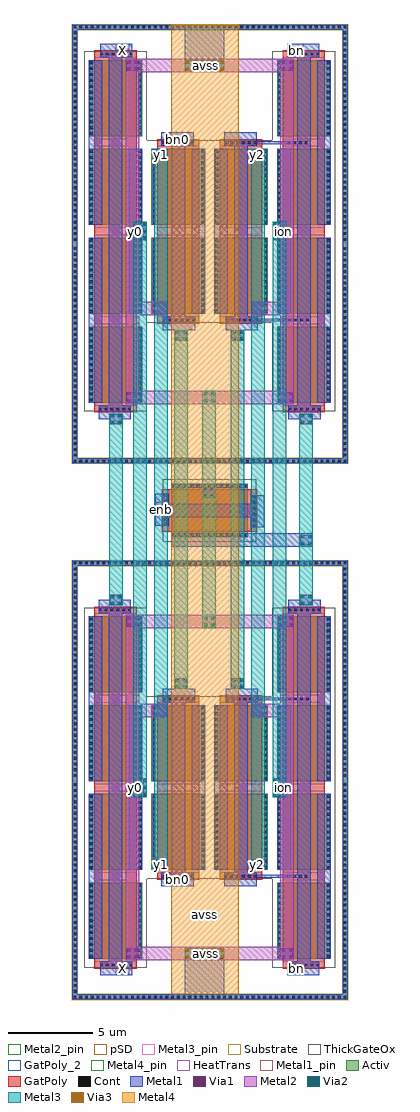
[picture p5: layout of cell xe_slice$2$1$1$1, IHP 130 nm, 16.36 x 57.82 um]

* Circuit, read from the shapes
.subckt xe_slice$2$1$1$1 X avss bn bn0 enb ion y0 y1 y2
XM1 avss X n1 avss sg13_hv_nmos w=4.5u l=2.5u
XM2 y0 X n1 avss sg13_hv_nmos w=4.5u l=2.5u
XM3 y0 X n2 avss sg13_hv_nmos w=4.5u l=2.5u
XM4 avss X n2 avss sg13_hv_nmos w=4.5u l=2.5u
XM5 avss X n3 avss sg13_hv_nmos w=4.5u l=2.5u
XM6 y0 X n3 avss sg13_hv_nmos w=4.5u l=2.5u
XM7 y0 X n4 avss sg13_hv_nmos w=4.5u l=2.5u
XM8 avss X n4 avss sg13_hv_nmos w=4.5u l=2.5u
XM9 n5 bn0 y1 avss sg13_hv_nmos w=4.5u l=2.5u
XM10 n5 bn0 avss avss sg13_hv_nmos w=4.5u l=2.5u
XM11 n6 bn0 avss avss sg13_hv_nmos w=4.5u l=2.5u
XM12 n6 bn0 y1 avss sg13_hv_nmos w=4.5u l=2.5u
XM13 avss enb bn avss sg13_hv_nmos w=4.5u l=2.5u
XM14 y2 bn n7 avss sg13_hv_nmos w=4.5u l=2.5u
XM15 avss bn n7 avss sg13_hv_nmos w=4.5u l=2.5u
XM16 avss bn n8 avss sg13_hv_nmos w=4.5u l=2.5u
XM17 y2 bn n8 avss sg13_hv_nmos w=4.5u l=2.5u
XM18 n9 bn avss avss sg13_hv_nmos w=4.5u l=2.5u
XM19 n9 bn ion avss sg13_hv_nmos w=4.5u l=2.5u
XM20 n10 bn ion avss sg13_hv_nmos w=4.5u l=2.5u
XM21 n10 bn avss avss sg13_hv_nmos w=4.5u l=2.5u
XM22 n11 bn avss avss sg13_hv_nmos w=4.5u l=2.5u
XM23 n11 bn ion avss sg13_hv_nmos w=4.5u l=2.5u
XM24 n12 bn ion avss sg13_hv_nmos w=4.5u l=2.5u
XM25 n12 bn avss avss sg13_hv_nmos w=4.5u l=2.5u
.ends

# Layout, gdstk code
from math import pi, radians
import gdstk
lib = gdstk.Library(unit=1e-6, precision=1e-09)
def R(c, l, rs):  # rectangles x0, y0, x1, y1
    for r in rs: c.add(gdstk.rectangle(r[:2], r[2:], *l))
def A(c, l, x, y, w, h, nx, ny, dx, dy):  # array of equal rectangles
    R(c, l, [(x+i*dx, y+j*dy, x+i*dx+w, y+j*dy+h) for i in range(nx) for j in range(ny)])
def P(c, l, *ps):  # polygons
    for p in ps: c.add(gdstk.Polygon(p, *l))
Activ = (1, 0)
GatPoly = (5, 0)
GatPoly_2 = (5, 2)
Cont = (6, 0)
Metal1 = (8, 0)
Metal1_pin = (8, 2)
Metal2 = (10, 0)
Metal2_pin = (10, 2)
pSD = (14, 0)
Via1 = (19, 0)
Via2 = (29, 0)
Metal3 = (30, 0)
Metal3_pin = (30, 2)
Substrate = (40, 0)
ThickGateOx = (44, 0)
Via3 = (49, 0)
Metal4 = (50, 0)
Metal4_pin = (50, 2)
HeatTrans = (51, 0)

nmoshv = lib.new_cell('nmosHV')
R(nmoshv, Activ, [(0,0,0.3,0.3), (0,0,3.18,4.5), (2.88,0,3.18,0.3)])
R(nmoshv, GatPoly, [(0.34,-0.18,2.84,4.68)])
R(nmoshv, GatPoly_2, [(0.34,-0.18,2.84,4.68)])
A(nmoshv, Cont, 0.07, 0.07, 0.16, 0.16, 1, 13, 0, 0.35)
A(nmoshv, Cont, 2.95, 0.07, 0.16, 0.16, 1, 13, 0, 0.35)
R(nmoshv, Metal1, [(0.07,0,0.23,4.5), (2.95,0,3.11,4.5)])
R(nmoshv, Metal1_pin, [(0.07,0,0.23,4.5), (2.95,0,3.11,4.5)])
R(nmoshv, ThickGateOx, [(-0.27,-0.52,3.45,5.02)])
R(nmoshv, HeatTrans, [(0.34,-0.18,2.84,4.68)])
nmoshv.add(gdstk.Label('nmosHV', (1.59,2.25), layer=63, texttype=0))
nmoshv.add(gdstk.Label('nmosHV', (1.59,2.25), layer=51, texttype=0))

via_stack_2 = lib.new_cell('via_stack$2')
R(via_stack_2, Metal1, [(-0.35,-0.31,0.35,0.31)])
R(via_stack_2, Metal2, [(-0.35,-0.305,0.35,0.305)])
R(via_stack_2, Via1, [(-0.3,-0.3,-0.11,-0.11), (0.11,-0.3,0.3,-0.11), (-0.3,0.11,-0.11,0.3), (0.11,0.11,0.3,0.3)])

via_stack_13 = lib.new_cell('via_stack$13')
R(via_stack_13, Metal1, [(-0.35,-0.31,0.35,0.31)])
R(via_stack_13, Metal2, [(-0.35,-0.305,0.35,0.305)])
R(via_stack_13, Via1, [(-0.3,-0.3,-0.11,-0.11), (0.11,-0.3,0.3,-0.11), (-0.3,0.11,-0.11,0.3), (0.11,0.11,0.3,0.3)])
R(via_stack_13, Via2, [(-0.3,-0.3,-0.11,-0.11), (0.11,-0.3,0.3,-0.11), (-0.3,0.11,-0.11,0.3), (0.11,0.11,0.3,0.3)])
R(via_stack_13, Metal3, [(-0.35,-0.305,0.35,0.305)])

via_stack_15 = lib.new_cell('via_stack$15')
R(via_stack_15, Metal1, [(-1.17,-0.31,1.17,0.31)])
R(via_stack_15, Metal2, [(-1.17,-0.305,1.17,0.305)])
A(via_stack_15, Via1, -1.12, -0.3, 0.19, 0.19, 6, 2, 0.41, 0.41)
A(via_stack_15, Via2, -1.12, -0.3, 0.19, 0.19, 6, 2, 0.41, 0.41)
R(via_stack_15, Metal3, [(-1.17,-0.305,1.17,0.305)])
A(via_stack_15, Via3, -1.12, -0.3, 0.19, 0.19, 6, 2, 0.41, 0.41)
R(via_stack_15, Metal4, [(-1.17,-0.305,1.17,0.305)])

via_stack_16 = lib.new_cell('via_stack$16')
R(via_stack_16, Metal1, [(-0.555,-0.105,0.555,0.105)])
R(via_stack_16, Metal2, [(-0.555,-0.1,0.555,0.1)])
A(via_stack_16, Via1, -0.505, -0.095, 0.19, 0.19, 3, 1, 0.41, 0)
A(via_stack_16, Via2, -0.505, -0.095, 0.19, 0.19, 3, 1, 0.41, 0)
R(via_stack_16, Metal3, [(-0.555,-0.1,0.555,0.1)])

guard_ring_2 = lib.new_cell('guard_ring$2')
R(guard_ring_2, Activ, [(-8.15,-12.7,-7.85,12.7), (7.85,-12.7,8.15,12.7), (-8.15,12.7,8.15,13)])
P(guard_ring_2, Activ, [(-8.15,-13),(-8.15,12.7),(-7.85,12.7),(-7.85,-12.7),(7.85,-12.7),(7.85,12.7),(-8.15,12.7),(-8.15,13),(8.15,13),(8.15,-13)])
A(guard_ring_2, Cont, -8.08, -12.93, 0.16, 0.16, 24, 2, 0.34, 25.7)
A(guard_ring_2, Cont, 0.1, -12.93, 0.16, 0.16, 24, 2, 0.34, 25.7)
A(guard_ring_2, Cont, -8.08, -12.59, 0.16, 0.16, 1, 37, 0, 0.34)
A(guard_ring_2, Cont, 7.92, -12.59, 0.16, 0.16, 1, 37, 0, 0.34)
A(guard_ring_2, Cont, -8.08, 0.19, 0.16, 0.16, 1, 37, 0, 0.34)
A(guard_ring_2, Cont, 7.92, 0.19, 0.16, 0.16, 1, 37, 0, 0.34)
R(guard_ring_2, Metal1, [(-8.15,-13,8.15,-12.7), (-8.15,-12.7,-7.85,12.7), (7.85,-12.7,8.15,12.7), (-8.15,12.7,8.15,13)])
R(guard_ring_2, pSD, [(-8.18,-12.67,-7.82,12.67), (7.82,-12.67,8.18,12.67), (-8.18,12.67,8.18,13.03)])
P(guard_ring_2, pSD, [(-8.18,-13.03),(-8.18,12.67),(-7.82,12.67),(-7.82,-12.67),(7.82,-12.67),(7.82,12.67),(-8.18,12.67),(-8.18,13.03),(8.18,13.03),(8.18,-13.03)])
R(guard_ring_2, Substrate, [(-8.18,-12.67,-7.82,12.67), (7.82,-12.67,8.18,12.67), (-8.18,12.67,8.18,13.03)])
P(guard_ring_2, Substrate, [(-8.18,-13.03),(-8.18,12.67),(-7.82,12.67),(-7.82,-12.67),(7.82,-12.67),(7.82,12.67),(-8.18,12.67),(-8.18,13.03),(8.18,13.03),(8.18,-13.03)])
guard_ring_2.add(gdstk.Label('sub!', (0,-12.85), layer=63, texttype=0))

via_stack_1 = lib.new_cell('via_stack$1')
R(via_stack_1, Metal2, [(-0.35,-0.305,0.35,0.305)])
R(via_stack_1, Via2, [(-0.3,-0.3,-0.11,-0.11), (0.11,-0.3,0.3,-0.11), (-0.3,0.11,-0.11,0.3), (0.11,0.11,0.3,0.3)])
R(via_stack_1, Metal3, [(-0.35,-0.305,0.35,0.305)])

xe_slice_2_1_1_1 = lib.new_cell('xe_slice$2$1$1$1')
A(xe_slice_2_1_1_1, GatPoly, 1.27, 6.825, 2.5, 0.4, 4, 3, 3.72, 5.26)
A(xe_slice_2_1_1_1, GatPoly, 1.27, 39.775, 2.5, 0.4, 4, 3, 3.72, 5.26)
R(xe_slice_2_1_1_1, GatPoly, [(1.27,1.565,3.77,1.965), (12.43,1.565,14.93,1.965), (1.27,22.605,3.77,23.005), (12.43,22.605,14.93,23.005), (5.27,27.45,5.67,29.95), (10.53,27.45,10.93,29.95), (1.27,34.515,3.77,34.915), (12.43,34.515,14.93,34.915), (1.27,55.555,3.77,55.955), (12.43,55.555,14.93,55.955)])
R(xe_slice_2_1_1_1, Cont, [(1.605,1.69,1.765,1.85), (1.605,1.69,1.765,1.85), (1.955,1.69,2.115,1.85), (1.955,1.69,2.115,1.85), (2.305,1.69,2.465,1.85), (2.305,1.69,2.465,1.85), (2.655,1.69,2.815,1.85), (2.655,1.69,2.815,1.85), (3.005,1.69,3.165,1.85), (3.005,1.69,3.165,1.85), (3.355,1.69,3.515,1.85), (3.355,1.69,3.515,1.85), (12.685,1.69,12.845,1.85), (12.685,1.69,12.845,1.85), (13.035,1.69,13.195,1.85), (13.035,1.69,13.195,1.85), (13.385,1.69,13.545,1.85), (13.385,1.69,13.545,1.85), (13.735,1.69,13.895,1.85), (13.735,1.69,13.895,1.85), (14.085,1.69,14.245,1.85), (14.085,1.69,14.245,1.85), (14.435,1.69,14.595,1.85), (14.435,1.69,14.595,1.85), (5.245,6.95,5.405,7.11), (5.245,6.95,5.405,7.11), (5.595,6.95,5.755,7.11), (5.595,6.95,5.755,7.11), (5.945,6.95,6.105,7.11), (5.945,6.95,6.105,7.11), (6.295,6.95,6.455,7.11), (6.295,6.95,6.455,7.11), (6.645,6.95,6.805,7.11), (6.645,6.95,6.805,7.11), (6.995,6.95,7.155,7.11), (6.995,6.95,7.155,7.11), (8.965,6.95,9.125,7.11), (8.965,6.95,9.125,7.11), (9.315,6.95,9.475,7.11), (9.315,6.95,9.475,7.11), (9.665,6.95,9.825,7.11), (9.665,6.95,9.825,7.11), (10.015,6.95,10.175,7.11), (10.015,6.95,10.175,7.11), (10.365,6.95,10.525,7.11), (10.365,6.95,10.525,7.11), (10.715,6.95,10.875,7.11), (10.715,6.95,10.875,7.11), (12.685,6.95,12.845,7.11), (12.685,6.95,12.845,7.11), (13.035,6.95,13.195,7.11), (13.035,6.95,13.195,7.11), (13.385,6.95,13.545,7.11), (13.385,6.95,13.545,7.11), (13.735,6.95,13.895,7.11), (13.735,6.95,13.895,7.11), (5.325,17.46,5.485,17.62), (5.325,17.46,5.485,17.62), (5.675,17.46,5.835,17.62), (5.675,17.46,5.835,17.62), (6.025,17.46,6.185,17.62), (6.025,17.46,6.185,17.62), (6.375,17.46,6.535,17.62), (6.375,17.46,6.535,17.62), (6.725,17.46,6.885,17.62), (6.725,17.46,6.885,17.62), (7.075,17.46,7.235,17.62), (7.075,17.46,7.235,17.62), (9.045,17.46,9.205,17.62), (9.045,17.46,9.205,17.62), (9.395,17.46,9.555,17.62), (9.395,17.46,9.555,17.62), (9.745,17.46,9.905,17.62), (9.745,17.46,9.905,17.62), (10.095,17.46,10.255,17.62), (10.095,17.46,10.255,17.62), (10.445,17.46,10.605,17.62), (10.445,17.46,10.605,17.62), (10.795,17.46,10.955,17.62), (10.795,17.46,10.955,17.62), (12.765,17.46,12.925,17.62), (12.765,17.46,12.925,17.62), (13.115,17.46,13.275,17.62), (13.115,17.46,13.275,17.62), (13.465,17.46,13.625,17.62), (13.465,17.46,13.625,17.62), (13.815,17.46,13.975,17.62), (13.815,17.46,13.975,17.62), (1.525,22.72,1.685,22.88), (1.525,22.72,1.685,22.88), (1.875,22.72,2.035,22.88), (1.875,22.72,2.035,22.88), (2.225,22.72,2.385,22.88), (2.225,22.72,2.385,22.88), (2.575,22.72,2.735,22.88), (2.575,22.72,2.735,22.88), (2.925,22.72,3.085,22.88), (2.925,22.72,3.085,22.88), (3.275,22.72,3.435,22.88), (3.275,22.72,3.435,22.88), (12.765,22.72,12.925,22.88), (12.765,22.72,12.925,22.88), (13.115,22.72,13.275,22.88), (13.115,22.72,13.275,22.88), (13.465,22.72,13.625,22.88), (13.465,22.72,13.625,22.88), (13.815,22.72,13.975,22.88), (13.815,22.72,13.975,22.88), (14.165,22.72,14.325,22.88), (14.165,22.72,14.325,22.88), (14.515,22.72,14.675,22.88), (14.515,22.72,14.675,22.88), (10.645,27.705,10.805,27.865), (10.645,27.705,10.805,27.865), (5.395,27.785,5.555,27.945), (5.395,27.785,5.555,27.945), (10.645,28.055,10.805,28.215), (10.645,28.055,10.805,28.215), (5.395,28.135,5.555,28.295), (5.395,28.135,5.555,28.295), (10.645,28.405,10.805,28.565), (10.645,28.405,10.805,28.565), (5.395,28.485,5.555,28.645), (5.395,28.485,5.555,28.645), (10.645,28.755,10.805,28.915), (10.645,28.755,10.805,28.915), (5.395,28.835,5.555,28.995), (5.395,28.835,5.555,28.995), (10.645,29.105,10.805,29.265), (10.645,29.105,10.805,29.265), (5.395,29.185,5.555,29.345), (5.395,29.185,5.555,29.345), (10.645,29.455,10.805,29.615), (10.645,29.455,10.805,29.615), (5.395,29.535,5.555,29.695), (5.395,29.535,5.555,29.695), (1.525,34.64,1.685,34.8), (1.525,34.64,1.685,34.8), (1.875,34.64,2.035,34.8), (1.875,34.64,2.035,34.8), (2.225,34.64,2.385,34.8), (2.225,34.64,2.385,34.8), (2.575,34.64,2.735,34.8), (2.575,34.64,2.735,34.8), (2.925,34.64,3.085,34.8), (2.925,34.64,3.085,34.8), (3.275,34.64,3.435,34.8), (3.275,34.64,3.435,34.8), (12.765,34.64,12.925,34.8), (12.765,34.64,12.925,34.8), (13.115,34.64,13.275,34.8), (13.115,34.64,13.275,34.8), (13.465,34.64,13.625,34.8), (13.465,34.64,13.625,34.8), (13.815,34.64,13.975,34.8), (13.815,34.64,13.975,34.8), (14.165,34.64,14.325,34.8), (14.165,34.64,14.325,34.8), (14.515,34.64,14.675,34.8), (14.515,34.64,14.675,34.8), (5.325,39.9,5.485,40.06), (5.325,39.9,5.485,40.06), (5.675,39.9,5.835,40.06), (5.675,39.9,5.835,40.06), (6.025,39.9,6.185,40.06), (6.025,39.9,6.185,40.06), (6.375,39.9,6.535,40.06), (6.375,39.9,6.535,40.06), (6.725,39.9,6.885,40.06), (6.725,39.9,6.885,40.06), (7.075,39.9,7.235,40.06), (7.075,39.9,7.235,40.06), (9.045,39.9,9.205,40.06), (9.045,39.9,9.205,40.06), (9.395,39.9,9.555,40.06), (9.395,39.9,9.555,40.06), (9.745,39.9,9.905,40.06), (9.745,39.9,9.905,40.06), (10.095,39.9,10.255,40.06), (10.095,39.9,10.255,40.06), (10.445,39.9,10.605,40.06), (10.445,39.9,10.605,40.06), (10.795,39.9,10.955,40.06), (10.795,39.9,10.955,40.06), (12.765,39.9,12.925,40.06), (12.765,39.9,12.925,40.06), (13.115,39.9,13.275,40.06), (13.115,39.9,13.275,40.06), (13.465,39.9,13.625,40.06), (13.465,39.9,13.625,40.06), (13.815,39.9,13.975,40.06), (13.815,39.9,13.975,40.06), (5.245,50.41,5.405,50.57), (5.245,50.41,5.405,50.57), (5.595,50.41,5.755,50.57), (5.595,50.41,5.755,50.57), (5.945,50.41,6.105,50.57), (5.945,50.41,6.105,50.57), (6.295,50.41,6.455,50.57), (6.295,50.41,6.455,50.57), (6.645,50.41,6.805,50.57), (6.645,50.41,6.805,50.57), (6.995,50.41,7.155,50.57), (6.995,50.41,7.155,50.57), (8.965,50.41,9.125,50.57), (8.965,50.41,9.125,50.57), (9.315,50.41,9.475,50.57), (9.315,50.41,9.475,50.57), (9.665,50.41,9.825,50.57), (9.665,50.41,9.825,50.57), (10.015,50.41,10.175,50.57), (10.015,50.41,10.175,50.57), (10.365,50.41,10.525,50.57), (10.365,50.41,10.525,50.57), (10.715,50.41,10.875,50.57), (10.715,50.41,10.875,50.57), (12.685,50.41,12.845,50.57), (12.685,50.41,12.845,50.57), (13.035,50.41,13.195,50.57), (13.035,50.41,13.195,50.57), (13.385,50.41,13.545,50.57), (13.385,50.41,13.545,50.57), (13.735,50.41,13.895,50.57), (13.735,50.41,13.895,50.57), (1.605,55.67,1.765,55.83), (1.605,55.67,1.765,55.83), (1.955,55.67,2.115,55.83), (1.955,55.67,2.115,55.83), (2.305,55.67,2.465,55.83), (2.305,55.67,2.465,55.83), (2.655,55.67,2.815,55.83), (2.655,55.67,2.815,55.83), (3.005,55.67,3.165,55.83), (3.005,55.67,3.165,55.83), (3.355,55.67,3.515,55.83), (3.355,55.67,3.515,55.83), (12.685,55.67,12.845,55.83), (12.685,55.67,12.845,55.83), (13.035,55.67,13.195,55.83), (13.035,55.67,13.195,55.83), (13.385,55.67,13.545,55.83), (13.385,55.67,13.545,55.83), (13.735,55.67,13.895,55.83), (13.735,55.67,13.895,55.83), (14.085,55.67,14.245,55.83), (14.085,55.67,14.245,55.83), (14.435,55.67,14.595,55.83), (14.435,55.67,14.595,55.83)])
R(xe_slice_2_1_1_1, Metal1, [(6.63,0.03,8.97,2.765), (1.605,1.69,3.515,1.85), (12.685,1.69,14.595,1.85), (5.245,6.95,7.155,7.11), (8.965,6.95,10.875,7.11), (10.875,6.95,12.685,7.11), (12.17,6.95,14.08,7.11), (4.11,11.725,4.165,12.835), (12.035,11.725,12.09,12.835), (5.325,17.46,7.235,17.62), (9.045,17.46,10.955,17.62), (10.955,17.46,12.765,17.62), (12.17,17.46,14.08,17.62), (1.525,22.72,3.435,22.88), (12.765,22.72,14.675,22.88), (10.645,27.705,10.805,29.615), (5.395,27.785,5.555,29.695), (1.525,34.64,3.435,34.8), (12.765,34.64,14.675,34.8), (5.325,39.9,7.235,40.06), (9.045,39.9,10.955,40.06), (10.955,39.9,12.765,40.06), (12.17,39.9,14.08,40.06), (4.11,44.695,4.165,45.805), (12.035,44.695,12.09,45.805), (5.245,50.41,7.155,50.57), (8.965,50.41,10.875,50.57), (10.875,50.41,12.685,50.57), (12.17,50.41,14.08,50.57), (6.63,54.755,8.97,57.49), (1.605,55.67,3.515,55.83), (12.685,55.67,14.595,55.83)])
R(xe_slice_2_1_1_1, Metal1_pin, [(2.545,1.165,3.345,1.965), (12.855,1.165,13.655,1.965), (1.605,1.69,3.515,1.85), (12.685,1.69,14.595,1.85), (5.785,6.425,6.585,7.225), (5.245,6.95,7.155,7.11), (8.965,6.95,10.875,7.11), (12.17,6.95,14.08,7.11), (3.31,11.885,4.11,12.685), (12.09,11.885,12.89,12.685), (5.325,17.46,7.235,17.62), (9.045,17.46,10.955,17.62), (12.17,17.46,14.08,17.62), (1.525,22.72,3.435,22.88), (12.765,22.72,14.675,22.88), (10.645,27.705,10.805,29.615), (5.395,27.785,5.555,29.695), (4.87,28.385,5.67,29.185), (1.525,34.64,3.435,34.8), (12.765,34.64,14.675,34.8), (5.325,39.9,7.235,40.06), (9.045,39.9,10.955,40.06), (12.17,39.9,14.08,40.06), (3.31,44.835,4.11,45.635), (12.09,44.835,12.89,45.635), (5.785,50.295,6.585,51.095), (5.245,50.41,7.155,50.57), (8.965,50.41,10.875,50.57), (12.17,50.41,14.08,50.57), (2.545,55.555,3.345,56.355), (12.855,55.555,13.655,56.355), (1.605,55.67,3.515,55.83), (12.685,55.67,14.595,55.83)])
R(xe_slice_2_1_1_1, Metal2_pin, [(7.48,2.055,8.28,2.855), (7.48,54.665,8.28,55.465)])
R(xe_slice_2_1_1_1, Metal3_pin, [(4.88,7.41,5.58,8.02), (10.62,7.41,11.32,8.02), (4.88,49.5,5.58,50.11), (10.62,49.5,11.32,50.11)])
R(xe_slice_2_1_1_1, Metal4_pin, [(5.815,0.03,9.815,57.49)])
xe_slice_2_1_1_1.add(gdstk.FlexPath([(5.85,26.94),(14.22,26.94)], 0.8, ends="flush", simple_path=True, layer=8, datatype=0))  # Metal1
xe_slice_2_1_1_1.add(gdstk.FlexPath([(3.435,34.515),(1.525,34.515)], 0.8, ends="flush", simple_path=True, layer=8, datatype=0))  # Metal1
xe_slice_2_1_1_1.add(gdstk.FlexPath([(3.515,55.955),(1.605,55.955)], 0.8, ends="flush", simple_path=True, layer=8, datatype=0))  # Metal1
xe_slice_2_1_1_1.add(gdstk.FlexPath([(7.43,50.115),(7.43,40.355)], 0.8, ends="flush", simple_path=True, layer=8, datatype=0))  # Metal1
xe_slice_2_1_1_1.add(gdstk.FlexPath([(9.96,7.225),(9.96,17.345)], 0.8, ends="flush", simple_path=True, layer=8, datatype=0))  # Metal1
xe_slice_2_1_1_1.add(gdstk.FlexPath([(9.045,17.745),(10.955,17.745)], 0.8, ends="flush", simple_path=True, layer=8, datatype=0))  # Metal1
xe_slice_2_1_1_1.add(gdstk.FlexPath([(2.52,1.965),(2.52,22.605),(2.52,22.605)], 0.8, ends="flush", simple_path=True, layer=8, datatype=0))  # Metal1
xe_slice_2_1_1_1.add(gdstk.FlexPath([(6.24,6.825),(6.24,17.745),(6.24,17.745)], 0.8, ends="flush", simple_path=True, layer=8, datatype=0))  # Metal1
xe_slice_2_1_1_1.add(gdstk.FlexPath([(5.245,6.825),(7.155,6.825)], 0.8, ends="flush", simple_path=True, layer=8, datatype=0))  # Metal1
xe_slice_2_1_1_1.add(gdstk.FlexPath([(5.325,17.745),(7.235,17.745)], 0.8, ends="flush", simple_path=True, layer=8, datatype=0))  # Metal1
xe_slice_2_1_1_1.add(gdstk.FlexPath([(1.33,22.425),(1.33,12.665)], 0.8, ends="flush", simple_path=True, layer=8, datatype=0))  # Metal1
xe_slice_2_1_1_1.add(gdstk.FlexPath([(1.33,2.145),(1.33,11.905)], 0.8, ends="flush", simple_path=True, layer=8, datatype=0))  # Metal1
xe_slice_2_1_1_1.add(gdstk.FlexPath([(14.87,22.425),(14.87,12.665)], 0.8, ends="flush", simple_path=True, layer=8, datatype=0))  # Metal1
xe_slice_2_1_1_1.add(gdstk.FlexPath([(8.77,7.405),(8.77,17.165)], 0.8, ends="flush", simple_path=True, layer=8, datatype=0))  # Metal1
xe_slice_2_1_1_1.add(gdstk.FlexPath([(14.87,2.145),(14.87,11.905)], 0.8, ends="flush", simple_path=True, layer=8, datatype=0))  # Metal1
xe_slice_2_1_1_1.add(gdstk.FlexPath([(8.965,6.825),(10.875,6.825)], 0.8, ends="flush", simple_path=True, layer=8, datatype=0))  # Metal1
xe_slice_2_1_1_1.add(gdstk.FlexPath([(13.68,1.965),(13.68,22.605)], 0.8, ends="flush", simple_path=True, layer=8, datatype=0))  # Metal1
xe_slice_2_1_1_1.add(gdstk.FlexPath([(12.49,17.165),(12.49,7.405)], 0.8, ends="flush", simple_path=True, layer=8, datatype=0))  # Metal1
xe_slice_2_1_1_1.add(gdstk.FlexPath([(12.685,1.565),(14.595,1.565)], 0.8, ends="flush", simple_path=True, layer=8, datatype=0))  # Metal1
xe_slice_2_1_1_1.add(gdstk.FlexPath([(3.71,17.165),(3.71,7.405)], 0.8, ends="flush", simple_path=True, layer=8, datatype=0))  # Metal1
xe_slice_2_1_1_1.add(gdstk.FlexPath([(12.765,23.005),(14.675,23.005)], 0.8, ends="flush", simple_path=True, layer=8, datatype=0))  # Metal1
xe_slice_2_1_1_1.add(gdstk.FlexPath([(7.43,7.405),(7.43,17.165)], 0.8, ends="flush", simple_path=True, layer=8, datatype=0))  # Metal1
xe_slice_2_1_1_1.add(gdstk.FlexPath([(3.515,1.565),(1.605,1.565)], 0.8, ends="flush", simple_path=True, layer=8, datatype=0))  # Metal1
xe_slice_2_1_1_1.add(gdstk.FlexPath([(3.435,23.005),(1.525,23.005)], 0.8, ends="flush", simple_path=True, layer=8, datatype=0))  # Metal1
xe_slice_2_1_1_1.add(gdstk.FlexPath([(5.27,27.785),(5.27,29.695)], 0.8, ends="flush", simple_path=True, layer=8, datatype=0))  # Metal1
xe_slice_2_1_1_1.add(gdstk.FlexPath([(10.93,29.615),(10.93,27.705)], 0.8, ends="flush", simple_path=True, layer=8, datatype=0))  # Metal1
xe_slice_2_1_1_1.add(gdstk.FlexPath([(10.53,28.7),(5.555,28.7)], 0.8, ends="flush", simple_path=True, layer=8, datatype=0))  # Metal1
xe_slice_2_1_1_1.add(gdstk.FlexPath([(12.765,34.515),(14.675,34.515)], 0.8, ends="flush", simple_path=True, layer=8, datatype=0))  # Metal1
xe_slice_2_1_1_1.add(gdstk.FlexPath([(3.71,40.355),(3.71,50.115)], 0.8, ends="flush", simple_path=True, layer=8, datatype=0))  # Metal1
xe_slice_2_1_1_1.add(gdstk.FlexPath([(12.685,55.955),(14.595,55.955)], 0.8, ends="flush", simple_path=True, layer=8, datatype=0))  # Metal1
xe_slice_2_1_1_1.add(gdstk.FlexPath([(12.49,40.355),(12.49,50.115)], 0.8, ends="flush", simple_path=True, layer=8, datatype=0))  # Metal1
xe_slice_2_1_1_1.add(gdstk.FlexPath([(13.68,55.555),(13.68,34.915)], 0.8, ends="flush", simple_path=True, layer=8, datatype=0))  # Metal1
xe_slice_2_1_1_1.add(gdstk.FlexPath([(8.965,50.695),(10.875,50.695)], 0.8, ends="flush", simple_path=True, layer=8, datatype=0))  # Metal1
xe_slice_2_1_1_1.add(gdstk.FlexPath([(14.87,55.375),(14.87,45.615)], 0.8, ends="flush", simple_path=True, layer=8, datatype=0))  # Metal1
xe_slice_2_1_1_1.add(gdstk.FlexPath([(8.77,50.115),(8.77,40.355)], 0.8, ends="flush", simple_path=True, layer=8, datatype=0))  # Metal1
xe_slice_2_1_1_1.add(gdstk.FlexPath([(14.87,35.095),(14.87,44.855)], 0.8, ends="flush", simple_path=True, layer=8, datatype=0))  # Metal1
xe_slice_2_1_1_1.add(gdstk.FlexPath([(1.33,55.375),(1.33,45.615)], 0.8, ends="flush", simple_path=True, layer=8, datatype=0))  # Metal1
xe_slice_2_1_1_1.add(gdstk.FlexPath([(1.33,35.095),(1.33,44.855)], 0.8, ends="flush", simple_path=True, layer=8, datatype=0))  # Metal1
xe_slice_2_1_1_1.add(gdstk.FlexPath([(5.325,39.775),(7.235,39.775)], 0.8, ends="flush", simple_path=True, layer=8, datatype=0))  # Metal1
xe_slice_2_1_1_1.add(gdstk.FlexPath([(5.245,50.695),(7.155,50.695)], 0.8, ends="flush", simple_path=True, layer=8, datatype=0))  # Metal1
xe_slice_2_1_1_1.add(gdstk.FlexPath([(6.24,50.695),(6.24,39.775),(6.24,39.775)], 0.8, ends="flush", simple_path=True, layer=8, datatype=0))  # Metal1
xe_slice_2_1_1_1.add(gdstk.FlexPath([(2.52,55.555),(2.52,34.915),(2.52,34.915)], 0.8, ends="flush", simple_path=True, layer=8, datatype=0))  # Metal1
xe_slice_2_1_1_1.add(gdstk.FlexPath([(9.045,39.775),(10.955,39.775)], 0.8, ends="flush", simple_path=True, layer=8, datatype=0))  # Metal1
xe_slice_2_1_1_1.add(gdstk.FlexPath([(9.96,50.295),(9.96,40.175)], 0.8, ends="flush", simple_path=True, layer=8, datatype=0))  # Metal1
xe_slice_2_1_1_1.add(gdstk.FlexPath([(13.07,2.455),(3.13,2.455)], 0.8, ends="flush", simple_path=True, layer=10, datatype=0))  # Metal2
xe_slice_2_1_1_1.add(gdstk.FlexPath([(13.07,22.115),(3.13,22.115)], 0.8, ends="flush", simple_path=True, layer=10, datatype=0))  # Metal2
xe_slice_2_1_1_1.add(gdstk.FlexPath([(5.58,16.855),(3.13,16.855)], 0.8, ends="flush", simple_path=True, layer=10, datatype=0))  # Metal2
xe_slice_2_1_1_1.add(gdstk.FlexPath([(3.53,22.425),(3.53,2.145)], 0.8, ends="flush", simple_path=True, layer=10, datatype=0))  # Metal2
xe_slice_2_1_1_1.add(gdstk.FlexPath([(12.67,22.425),(12.67,2.145)], 0.8, ends="flush", simple_path=True, layer=10, datatype=0))  # Metal2
xe_slice_2_1_1_1.add(gdstk.FlexPath([(10.62,16.855),(13.07,16.855)], 0.8, ends="flush", simple_path=True, layer=10, datatype=0))  # Metal2
xe_slice_2_1_1_1.add(gdstk.FlexPath([(10.62,40.665),(13.07,40.665)], 0.8, ends="flush", simple_path=True, layer=10, datatype=0))  # Metal2
xe_slice_2_1_1_1.add(gdstk.FlexPath([(12.67,35.095),(12.67,55.375)], 0.8, ends="flush", simple_path=True, layer=10, datatype=0))  # Metal2
xe_slice_2_1_1_1.add(gdstk.FlexPath([(3.53,35.095),(3.53,55.375)], 0.8, ends="flush", simple_path=True, layer=10, datatype=0))  # Metal2
xe_slice_2_1_1_1.add(gdstk.FlexPath([(5.58,40.665),(3.13,40.665)], 0.8, ends="flush", simple_path=True, layer=10, datatype=0))  # Metal2
xe_slice_2_1_1_1.add(gdstk.FlexPath([(13.07,35.405),(3.13,35.405)], 0.8, ends="flush", simple_path=True, layer=10, datatype=0))  # Metal2
xe_slice_2_1_1_1.add(gdstk.FlexPath([(13.07,55.065),(3.13,55.065)], 0.8, ends="flush", simple_path=True, layer=10, datatype=0))  # Metal2
xe_slice_2_1_1_1.add(gdstk.FlexPath([(5.23,50.11),(5.23,7.41)], 0.8, ends="flush", simple_path=True, layer=30, datatype=0))  # Metal3
xe_slice_2_1_1_1.add(gdstk.FlexPath([(10.97,7.41),(10.97,50.115)], 0.8, ends="flush", simple_path=True, layer=30, datatype=0))  # Metal3
xe_slice_2_1_1_1.add(gdstk.FlexPath([(6.415,18.145),(6.415,39.375)], 0.8, ends="flush", simple_path=True, layer=30, datatype=0))  # Metal3
xe_slice_2_1_1_1.add(gdstk.FlexPath([(9.76,18.145),(9.76,39.375)], 0.8, ends="flush", simple_path=True, layer=30, datatype=0))  # Metal3
xe_slice_2_1_1_1.add(gdstk.FlexPath([(12.23,45.805),(12.23,11.725)], 0.8, ends="flush", simple_path=True, layer=30, datatype=0))  # Metal3
xe_slice_2_1_1_1.add(gdstk.FlexPath([(3.97,45.805),(3.97,11.725)], 0.8, ends="flush", simple_path=True, layer=30, datatype=0))  # Metal3
xe_slice_2_1_1_1.add(gdstk.FlexPath([(2.555,34.43),(2.555,23.095)], 0.8, ends="flush", simple_path=True, layer=30, datatype=0))  # Metal3
xe_slice_2_1_1_1.add(gdstk.FlexPath([(13.82,34.43),(13.82,23.095)], 0.8, ends="flush", simple_path=True, layer=30, datatype=0))  # Metal3
xe_slice_2_1_1_1.add(gdstk.FlexPath([(8.075,30.055),(8.075,22.115)], 0.8, ends="flush", simple_path=True, layer=30, datatype=0))  # Metal3
xe_slice_2_1_1_1.add(gdstk.FlexPath([(8.075,29.44),(8.075,35.805)], 0.8, ends="flush", simple_path=True, layer=30, datatype=0))  # Metal3
xe_slice_2_1_1_1.add(gdstk.FlexPath([(8.075,22.115),(8.075,21.715)], 0.8, ends="flush", simple_path=True, layer=30, datatype=0))  # Metal3
xe_slice_2_1_1_1.add(gdstk.FlexPath([(7.815,0.03),(7.815,57.49)], 4, ends="flush", simple_path=True, layer=50, datatype=0))  # Metal4
xe_slice_2_1_1_1.add(gdstk.Reference(nmoshv, (0.93,35.095)))
xe_slice_2_1_1_1.add(gdstk.Reference(nmoshv, (0.93,40.355)))
xe_slice_2_1_1_1.add(gdstk.Reference(nmoshv, (10.35,27.11), rotation=pi/2))
xe_slice_2_1_1_1.add(gdstk.Reference(nmoshv, (8.37,40.355)))
xe_slice_2_1_1_1.add(gdstk.Reference(nmoshv, (8.37,45.615)))
xe_slice_2_1_1_1.add(gdstk.Reference(nmoshv, (0.93,50.875)))
xe_slice_2_1_1_1.add(gdstk.Reference(nmoshv, (4.65,40.355)))
xe_slice_2_1_1_1.add(gdstk.Reference(nmoshv, (4.65,45.615)))
xe_slice_2_1_1_1.add(gdstk.Reference(nmoshv, (0.93,45.615)))
xe_slice_2_1_1_1.add(gdstk.Reference(nmoshv, (15.27,35.095), rotation=pi, x_reflection=True))
xe_slice_2_1_1_1.add(gdstk.Reference(nmoshv, (15.27,40.355), rotation=pi, x_reflection=True))
xe_slice_2_1_1_1.add(gdstk.Reference(via_stack_2, (10.97,40.665)))
xe_slice_2_1_1_1.add(gdstk.Reference(via_stack_2, (3.53,55.065), rotation=pi, x_reflection=True))
xe_slice_2_1_1_1.add(gdstk.Reference(via_stack_2, (3.53,35.405), rotation=pi, x_reflection=True))
xe_slice_2_1_1_1.add(gdstk.Reference(via_stack_13, (10.97,49.805)))
xe_slice_2_1_1_1.add(gdstk.Reference(nmoshv, (15.27,50.875), rotation=pi, x_reflection=True))
xe_slice_2_1_1_1.add(gdstk.Reference(via_stack_13, (8.075,29.75), rotation=pi))
xe_slice_2_1_1_1.add(gdstk.Reference(nmoshv, (15.27,45.615), rotation=pi, x_reflection=True))
xe_slice_2_1_1_1.add(gdstk.Reference(via_stack_2, (5.23,40.665)))
xe_slice_2_1_1_1.add(gdstk.Reference(via_stack_2, (12.67,55.065)))
xe_slice_2_1_1_1.add(gdstk.Reference(via_stack_2, (12.67,35.405)))
xe_slice_2_1_1_1.add(gdstk.Reference(via_stack_13, (5.23,49.805)))
xe_slice_2_1_1_1.add(gdstk.Reference(via_stack_15, (7.8,55.06)))
xe_slice_2_1_1_1.add(gdstk.Reference(via_stack_15, (7.8,2.46), x_reflection=True))
xe_slice_2_1_1_1.add(gdstk.Reference(via_stack_13, (5.23,7.715), x_reflection=True))
xe_slice_2_1_1_1.add(gdstk.Reference(via_stack_2, (12.67,22.115), x_reflection=True))
xe_slice_2_1_1_1.add(gdstk.Reference(via_stack_2, (12.67,2.455), x_reflection=True))
xe_slice_2_1_1_1.add(gdstk.Reference(via_stack_2, (5.23,16.855), x_reflection=True))
xe_slice_2_1_1_1.add(gdstk.Reference(via_stack_13, (13.82,34.12)))
xe_slice_2_1_1_1.add(gdstk.Reference(nmoshv, (15.27,6.645), rotation=pi))
xe_slice_2_1_1_1.add(gdstk.Reference(via_stack_13, (10.97,7.715), x_reflection=True))
xe_slice_2_1_1_1.add(gdstk.Reference(via_stack_2, (3.53,22.115), rotation=pi))
xe_slice_2_1_1_1.add(gdstk.Reference(via_stack_2, (3.53,2.455), rotation=pi))
xe_slice_2_1_1_1.add(gdstk.Reference(via_stack_2, (10.97,16.855), x_reflection=True))
xe_slice_2_1_1_1.add(gdstk.Reference(nmoshv, (15.27,17.165), rotation=pi))
xe_slice_2_1_1_1.add(gdstk.Reference(nmoshv, (15.27,22.425), rotation=pi))
xe_slice_2_1_1_1.add(gdstk.Reference(nmoshv, (0.93,11.905), x_reflection=True))
xe_slice_2_1_1_1.add(gdstk.Reference(nmoshv, (4.65,11.905), x_reflection=True))
xe_slice_2_1_1_1.add(gdstk.Reference(nmoshv, (4.65,17.165), x_reflection=True))
xe_slice_2_1_1_1.add(gdstk.Reference(nmoshv, (0.93,6.645), x_reflection=True))
xe_slice_2_1_1_1.add(gdstk.Reference(nmoshv, (8.37,11.905), x_reflection=True))
xe_slice_2_1_1_1.add(gdstk.Reference(nmoshv, (8.37,17.165), x_reflection=True))
xe_slice_2_1_1_1.add(gdstk.Reference(via_stack_13, (13.82,23.405)))
xe_slice_2_1_1_1.add(gdstk.Reference(nmoshv, (0.93,17.165), x_reflection=True))
xe_slice_2_1_1_1.add(gdstk.Reference(nmoshv, (0.93,22.425), x_reflection=True))
xe_slice_2_1_1_1.add(gdstk.Reference(via_stack_13, (13.82,26.94)))
xe_slice_2_1_1_1.add(gdstk.Reference(via_stack_16, (4.27,45.25), rotation=pi/2))
xe_slice_2_1_1_1.add(gdstk.Reference(via_stack_13, (6.415,39.065), rotation=pi))
xe_slice_2_1_1_1.add(gdstk.Reference(via_stack_13, (6.415,18.455), rotation=pi))
xe_slice_2_1_1_1.add(gdstk.Reference(guard_ring_2, (8.12,12.73)))
xe_slice_2_1_1_1.add(gdstk.Reference(via_stack_13, (9.76,39.065), rotation=pi))
xe_slice_2_1_1_1.add(gdstk.Reference(via_stack_13, (9.76,18.455), rotation=pi))
xe_slice_2_1_1_1.add(gdstk.Reference(via_stack_16, (11.93,12.28), rotation=pi/2, x_reflection=True))
xe_slice_2_1_1_1.add(gdstk.Reference(via_stack_16, (11.93,45.25), rotation=pi/2, x_reflection=True))
xe_slice_2_1_1_1.add(gdstk.Reference(via_stack_13, (2.555,34.12)))
xe_slice_2_1_1_1.add(gdstk.Reference(via_stack_13, (2.555,23.405)))
xe_slice_2_1_1_1.add(gdstk.Reference(nmoshv, (15.27,11.905), rotation=pi))
xe_slice_2_1_1_1.add(gdstk.Reference(via_stack_16, (4.27,12.28), rotation=pi/2))
xe_slice_2_1_1_1.add(gdstk.Reference(guard_ring_2, (8.12,44.49)))
xe_slice_2_1_1_1.add(gdstk.Reference(via_stack_1, (8.075,35.405), rotation=pi))
xe_slice_2_1_1_1.add(gdstk.Reference(via_stack_1, (8.075,22.115), rotation=pi))
xe_slice_2_1_1_1.add(gdstk.Label('bn0', (6.185,6.82), layer=8, texttype=25))
xe_slice_2_1_1_1.add(gdstk.Label('X', (2.945,1.56), layer=8, texttype=25))
xe_slice_2_1_1_1.add(gdstk.Label('y0', (3.715,12.285), layer=8, texttype=25))
xe_slice_2_1_1_1.add(gdstk.Label('bn', (13.255,1.56), layer=8, texttype=25))
xe_slice_2_1_1_1.add(gdstk.Label('ion', (12.485,12.285), layer=8, texttype=25))
xe_slice_2_1_1_1.add(gdstk.Label('enb', (5.27,28.785), layer=8, texttype=25))
xe_slice_2_1_1_1.add(gdstk.Label('ion', (12.485,45.235), layer=8, texttype=25))
xe_slice_2_1_1_1.add(gdstk.Label('bn', (13.255,55.96), layer=8, texttype=25))
xe_slice_2_1_1_1.add(gdstk.Label('y0', (3.715,45.235), layer=8, texttype=25))
xe_slice_2_1_1_1.add(gdstk.Label('X', (2.945,55.96), layer=8, texttype=25))
xe_slice_2_1_1_1.add(gdstk.Label('bn0', (6.185,50.7), layer=8, texttype=25))
xe_slice_2_1_1_1.add(gdstk.Label('y1', (5.22,7.755), layer=30, texttype=25))
xe_slice_2_1_1_1.add(gdstk.Label('y2', (10.96,7.755), layer=30, texttype=25))
xe_slice_2_1_1_1.add(gdstk.Label('y2', (10.96,49.765), layer=30, texttype=25))
xe_slice_2_1_1_1.add(gdstk.Label('y1', (5.22,49.765), layer=30, texttype=25))
xe_slice_2_1_1_1.add(gdstk.Label('avss', (7.78,4.755), layer=50, texttype=25))
xe_slice_2_1_1_1.add(gdstk.Label('avss', (7.88,2.455), layer=10, texttype=25))
xe_slice_2_1_1_1.add(gdstk.Label('avss', (7.88,55.065), layer=10, texttype=25))

lib.write_gds('xe_slice_2_1_1_1.gds')
